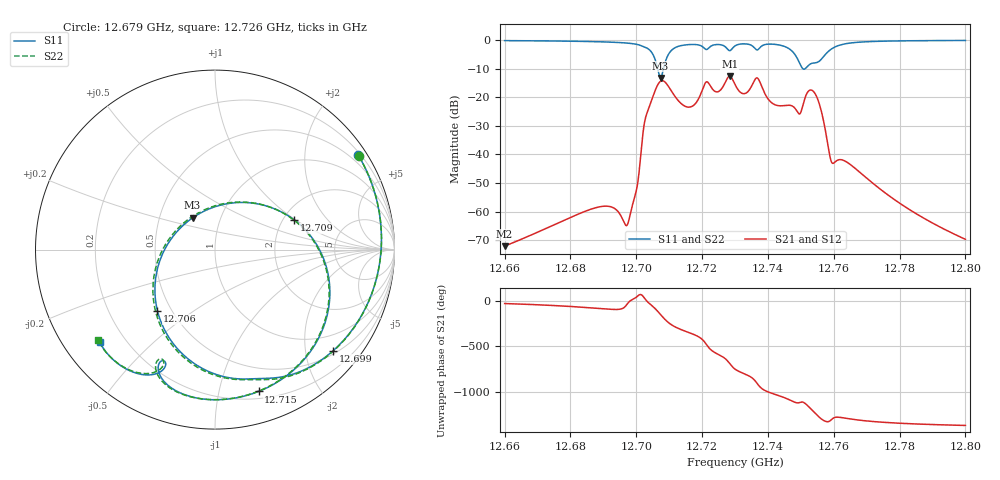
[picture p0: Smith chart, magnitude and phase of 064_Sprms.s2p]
! TOUCHSTONE file generated by CST MICROWAVE STUDIO
! Date and time: Wed Jul 31 13:55:37 2024
! Project name: WaveGuide_BPF-Ver4.1_U-shape_Ku_T3_C4_CWA_2.cst
! Parameters = {cavity_h=16; cavity_l0=10; cavity_l1=15.2281; cavity_l2=16.8093; cavity_l3=17.1424; cavity_l4=17.2324; cavity_l5=17.1269; cavity_l6=17.633; cavity_r=2.5; cavity_screw_l=0.5; cavity_screw_r=1.5; cavity_w=8; iris_h00=0; iris_h01=8.8234; iris_h112=0; iris_h12=5.6083; iris_h211=3.6518; i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
! Header version: 2018
! Port assignment regex: !\s*Touchstone port\s*([0-9]+)\s*=\s*(CST MWS port|CST DS port)\s*([0-9]+|Zmin|Zmax)\s*\(\"(.*)\"\)(\s*mode\s*([0-9]+))?.*
! Touchstone port assignment:
! Touchstone port 1 = CST MWS port 1 ("")
! Touchstone port 2 = CST MWS port 2 ("")
# GHz S RI R 50
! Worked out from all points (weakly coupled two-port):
!   5001 points, 12.66 GHz to 12.8 GHz, reference 50 ohm
!   highest |S21| = -12.63 dB at 12.728 GHz (marker M1); lowest = -72.1 dB at 12.66 GHz (marker M2)
!   lowest |S11| = -13.3 dB at 12.707 GHz (marker M3), VSWR 1.55, Z = 36.8 + j13.7 ohm
!   |S11| at or under -10 dB: 12.70651 GHz to 12.70828 GHz (1.775 MHz wide, 0.014 % of centre); 12.75059 GHz to 12.75135 GHz (757.2 kHz wide, 0.00594 % of centre)
!   |S22| runs from -13.0 to -0.1 dB; largest |S21 - S12| = 1e-09
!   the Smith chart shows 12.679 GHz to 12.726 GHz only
!   S11 on the Smith chart (normalised r, x): 12.679 GHz: 0.27, +3.30; 12.699 GHz: 0.57, -2.59; 12.706 GHz: 0.42, -0.37; 12.709 GHz: 2.30, +0.97; 12.715 GHz: 0.26, -1.32; 12.726 GHz: 0.11, -0.35
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12.66  0.4516 0.8659  0.000212 -0.00013  0.000212 -0.00013  0.4576 0.8627
12.67882  0.7974 0.5281  0.000356 -0.000645  0.000356 -0.000645  0.8032 0.5187
12.68335  0.8733 0.3675  0.000302 -0.000907  0.000302 -0.000907  0.8778 0.3555
12.69875  0.6566 -0.5648  0.00122 0.000232  0.00122 0.000232  0.6404 -0.5814
12.70267  0.1929 -0.721  0.0383 0.0128  0.0383 0.0128  0.1679 -0.7252
12.70567  -0.3206 -0.3407  0.012 -0.1271  0.012 -0.1271  -0.3354 -0.3254
12.70668  -0.2864 -0.0116  -0.0932 -0.1429  -0.0932 -0.1429  -0.2902 0.00274
12.70738  -0.1248 0.177  -0.1683 -0.089  -0.1683 -0.089  -0.1233 0.1863
12.70917  0.4421 0.165  -0.13 0.1141  -0.13 0.1141  0.4435 0.1616
12.71536  0.2428 -0.7903  0.0641 0.0222  0.0641 0.0222  0.2263 -0.7948
12.72583  -0.6431 -0.5139  -0.0559 0.1265  -0.0559 0.1265  -0.6524 -0.5021
12.72838  -0.5591 -0.333  0.2 0.1206  0.2 0.1206  -0.5646 -0.3228
12.73  -0.6804 -0.4007  0.1447 -0.0838  0.1447 -0.0838  -0.6872 -0.3889
12.74086  -0.7494 0.3985  0.0295 0.0772  0.0295 0.0772  -0.7409 0.4114
12.7459  -0.1229 0.7241  0.0722 0.0049  0.0722 0.0049  -0.0971 0.7229
12.74893  0.4196 0.2254  0.0425 -0.036  0.0425 -0.036  0.4285 0.1928
12.75108  -0.00556 -0.3103  0.0687 -0.0583  0.0687 -0.0583  -0.0265 -0.3182
12.75335  -0.3315 0.2084  -0.0609 -0.1176  -0.0609 -0.1176  -0.3217 0.2177
12.75722  0.5016 -0.1971  -0.0164 0.0266  -0.0164 0.0266  0.4911 -0.2352
12.76161  -0.2038 -0.7809  -0.00771 0.00243  -0.00771 0.00243  -0.2315 -0.7782
12.77668  -0.9502 -0.1307  -0.000451 0.00186  -0.000451 0.00186  -0.9521 -0.1211
12.8  -0.919 0.3491  9.78e-05 0.000313  9.78e-05 0.000313  -0.9171 0.3543
